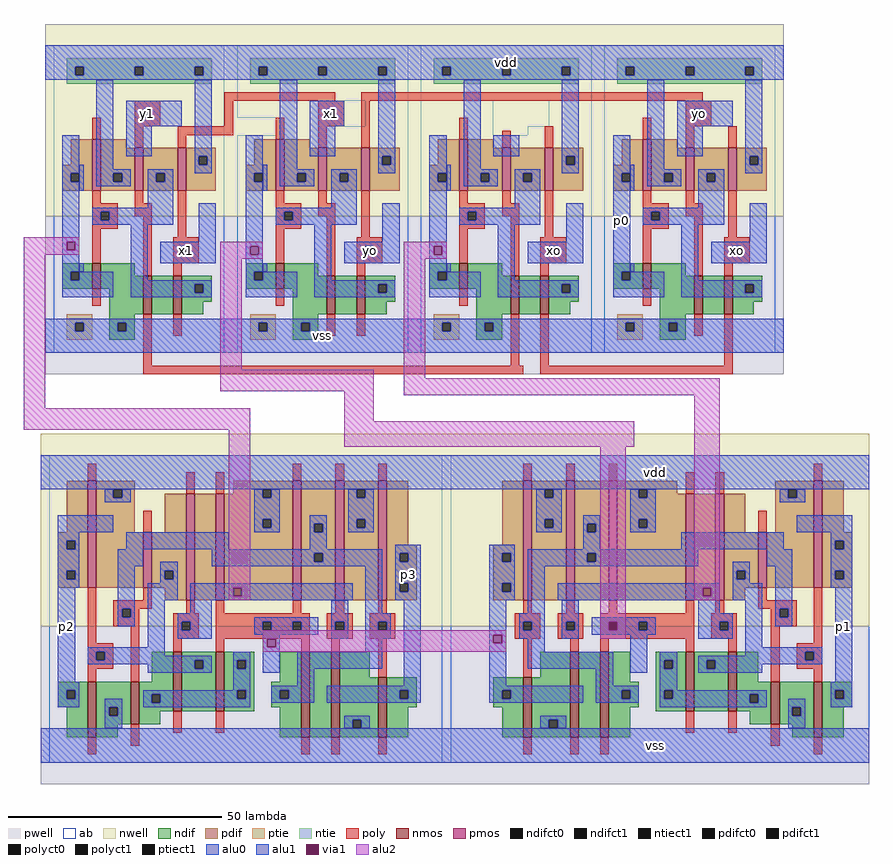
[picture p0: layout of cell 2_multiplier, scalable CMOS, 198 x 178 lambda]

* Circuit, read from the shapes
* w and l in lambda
.subckt 2_multiplier p0 p1 p2 p3 vdd vss x1 xo y1 yo
M1 vss n1 p2 vss nfet w=13 l=2
M2 vss n2 n3 vss nfet w=6 l=2
M3 n4 n5 vss vss nfet w=10 l=2
M4 n6 y1 vss vss nfet w=9 l=2
M5 n1 n3 n4 vss nfet w=14 l=2
M6 n2 x1 n6 vss nfet w=9 l=2
M7 n4 n7 n1 vss nfet w=14 l=2
M8 vss n8 n9 vss nfet w=6 l=2
M9 n10 n7 n5 vss nfet w=20 l=2
M10 n11 x1 vss vss nfet w=9 l=2
M11 vss n3 n10 vss nfet w=20 l=2
M12 n8 yo n11 vss nfet w=9 l=2
M13 p3 n5 vss vss nfet w=14 l=2
M14 vss n12 n13 vss nfet w=6 l=2
M15 n14 y1 vss vss nfet w=9 l=2
M16 vss n15 n7 vss nfet w=14 l=2
M17 n12 xo n14 vss nfet w=9 l=2
M18 n16 n13 vss vss nfet w=20 l=2
M19 n15 n9 n16 vss nfet w=20 l=2
M20 vss n17 p0 vss nfet w=6 l=2
M21 n18 n9 n19 vss nfet w=14 l=2
M22 n20 yo vss vss nfet w=9 l=2
M23 n17 xo n20 vss nfet w=9 l=2
M24 n19 n13 n18 vss nfet w=14 l=2
M25 vss n15 n19 vss nfet w=10 l=2
M26 p1 n18 vss vss nfet w=13 l=2
M27 vdd n1 p2 n21 pfet w=25 l=2
M28 vdd n2 n3 vdd pfet w=12 l=2
M29 n2 y1 vdd vdd pfet w=10 l=2
M30 n1 n5 vdd n21 pfet w=13 l=2
M31 vdd x1 n2 vdd pfet w=10 l=2
M32 n22 n3 n1 n21 pfet w=25 l=2
M33 vdd n7 n22 n21 pfet w=25 l=2
M34 vdd n8 n9 vdd pfet w=12 l=2
M35 n5 n7 vdd n21 pfet w=28 l=2
M36 n8 x1 vdd vdd pfet w=10 l=2
M37 vdd n3 n5 n21 pfet w=28 l=2
M38 vdd yo n8 vdd pfet w=10 l=2
M39 p3 n5 vdd n21 pfet w=28 l=2
M40 vdd n12 n13 vdd pfet w=12 l=2
M41 n12 y1 vdd vdd pfet w=10 l=2
M42 vdd n15 n7 n21 pfet w=28 l=2
M43 vdd xo n12 vdd pfet w=10 l=2
M44 n15 n13 vdd n21 pfet w=28 l=2
M45 vdd n9 n15 n21 pfet w=28 l=2
M46 vdd n17 p0 vdd pfet w=12 l=2
M47 n23 n9 vdd n21 pfet w=25 l=2
M48 n17 yo vdd vdd pfet w=10 l=2
M49 n18 n13 n23 n21 pfet w=25 l=2
M50 vdd xo n17 vdd pfet w=10 l=2
M51 vdd n15 n18 n21 pfet w=13 l=2
M52 p1 n18 vdd n21 pfet w=25 l=2
.ends

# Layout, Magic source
magic
tech scmos
<< ab >>
rect 6 101 46 173
rect 49 160 89 173
rect 49 156 74 160
rect 58 154 74 156
rect 79 154 89 160
rect 58 152 89 154
rect 49 101 89 152
rect 92 160 132 173
rect 92 152 109 160
rect 122 154 132 160
rect 117 152 132 154
rect 92 101 132 152
rect 135 101 175 173
rect 5 5 97 77
rect 99 5 197 77
<< nwell >>
rect 4 133 177 178
rect 3 37 197 82
<< pwell >>
rect 4 96 177 133
rect 3 0 197 37
<< poly >>
rect 46 160 72 162
rect 78 160 158 162
rect 25 158 31 160
rect 25 156 27 158
rect 29 156 31 158
rect 15 151 17 156
rect 25 154 31 156
rect 46 154 48 160
rect 68 158 74 160
rect 68 156 70 158
rect 72 156 74 158
rect 25 149 27 154
rect 35 152 48 154
rect 35 149 37 152
rect 58 151 60 156
rect 68 154 74 156
rect 68 149 70 154
rect 78 149 80 160
rect 154 158 160 160
rect 154 156 156 158
rect 158 156 160 158
rect 101 151 103 156
rect 111 149 113 153
rect 121 149 123 154
rect 144 151 146 156
rect 154 154 160 156
rect 154 149 156 154
rect 164 149 166 154
rect 15 136 17 139
rect 25 136 27 139
rect 15 134 21 136
rect 15 132 17 134
rect 19 132 21 134
rect 25 133 29 136
rect 15 130 21 132
rect 15 122 17 130
rect 27 119 29 133
rect 35 128 37 139
rect 58 136 60 139
rect 68 136 70 139
rect 58 134 64 136
rect 58 132 60 134
rect 62 132 64 134
rect 68 133 72 136
rect 58 130 64 132
rect 34 126 40 128
rect 34 124 36 126
rect 38 124 40 126
rect 34 122 40 124
rect 58 122 60 130
rect 34 119 36 122
rect 15 112 17 116
rect 70 119 72 133
rect 78 128 80 139
rect 101 136 103 139
rect 111 136 113 139
rect 101 134 107 136
rect 101 132 103 134
rect 105 132 107 134
rect 111 133 115 136
rect 101 130 107 132
rect 77 126 83 128
rect 77 124 79 126
rect 81 124 83 126
rect 77 122 83 124
rect 101 122 103 130
rect 77 119 79 122
rect 58 112 60 116
rect 113 119 115 133
rect 121 128 123 139
rect 144 136 146 139
rect 154 136 156 139
rect 144 134 150 136
rect 144 132 146 134
rect 148 132 150 134
rect 154 133 158 136
rect 144 130 150 132
rect 120 126 126 128
rect 120 124 122 126
rect 124 124 126 126
rect 120 122 126 124
rect 144 122 146 130
rect 120 119 122 122
rect 101 112 103 116
rect 156 119 158 133
rect 164 128 166 139
rect 163 126 169 128
rect 163 124 165 126
rect 167 124 169 126
rect 163 122 169 124
rect 163 119 165 122
rect 144 112 146 116
rect 27 98 29 110
rect 34 105 36 110
rect 70 105 72 110
rect 77 105 79 110
rect 113 98 115 110
rect 120 98 122 110
rect 156 105 158 110
rect 163 98 165 110
rect 27 96 116 98
rect 120 96 165 98
rect 14 71 16 75
rect 37 68 39 73
rect 44 68 46 73
rect 62 71 64 75
rect 72 71 74 75
rect 82 71 84 75
rect 116 71 118 75
rect 126 71 128 75
rect 136 71 138 75
rect 27 59 29 64
rect 14 33 16 46
rect 27 43 29 46
rect 154 68 156 73
rect 161 68 163 73
rect 184 71 186 75
rect 171 59 173 64
rect 171 43 173 46
rect 20 41 29 43
rect 20 39 22 41
rect 24 39 26 41
rect 37 40 39 43
rect 44 40 46 43
rect 62 40 64 43
rect 72 40 74 43
rect 82 40 84 43
rect 116 40 118 43
rect 126 40 128 43
rect 136 40 138 43
rect 154 40 156 43
rect 161 40 163 43
rect 171 41 180 43
rect 20 37 26 39
rect 14 31 20 33
rect 14 29 16 31
rect 18 29 20 31
rect 14 27 20 29
rect 14 24 16 27
rect 24 24 26 37
rect 34 38 40 40
rect 34 36 36 38
rect 38 36 40 38
rect 34 34 40 36
rect 44 38 66 40
rect 44 36 55 38
rect 57 36 62 38
rect 64 36 66 38
rect 44 34 66 36
rect 70 38 76 40
rect 70 36 72 38
rect 74 36 76 38
rect 70 34 76 36
rect 80 38 86 40
rect 80 36 82 38
rect 84 36 86 38
rect 80 34 86 36
rect 114 38 120 40
rect 114 36 116 38
rect 118 36 120 38
rect 114 34 120 36
rect 124 38 130 40
rect 124 36 126 38
rect 128 36 130 38
rect 124 34 130 36
rect 134 38 156 40
rect 134 36 136 38
rect 138 36 143 38
rect 145 36 156 38
rect 134 34 156 36
rect 160 38 166 40
rect 160 36 162 38
rect 164 36 166 38
rect 160 34 166 36
rect 34 31 36 34
rect 44 31 46 34
rect 64 31 66 34
rect 71 31 73 34
rect 14 7 16 11
rect 24 9 26 14
rect 34 12 36 17
rect 44 12 46 17
rect 82 25 84 34
rect 116 25 118 34
rect 127 31 129 34
rect 134 31 136 34
rect 154 31 156 34
rect 164 31 166 34
rect 174 39 176 41
rect 178 39 180 41
rect 174 37 180 39
rect 174 24 176 37
rect 184 33 186 46
rect 180 31 186 33
rect 180 29 182 31
rect 184 29 186 31
rect 180 27 186 29
rect 184 24 186 27
rect 154 12 156 17
rect 164 12 166 17
rect 64 7 66 11
rect 71 7 73 11
rect 82 7 84 11
rect 116 7 118 11
rect 127 7 129 11
rect 134 7 136 11
rect 174 9 176 14
rect 184 7 186 11
<< ndif >>
rect 8 120 15 122
rect 8 118 10 120
rect 12 118 15 120
rect 8 116 15 118
rect 17 119 25 122
rect 51 120 58 122
rect 17 116 27 119
rect 19 110 27 116
rect 29 110 34 119
rect 36 117 43 119
rect 36 115 39 117
rect 41 115 43 117
rect 51 118 53 120
rect 55 118 58 120
rect 51 116 58 118
rect 60 119 68 122
rect 94 120 101 122
rect 60 116 70 119
rect 36 113 43 115
rect 36 110 41 113
rect 62 110 70 116
rect 72 110 77 119
rect 79 117 86 119
rect 79 115 82 117
rect 84 115 86 117
rect 94 118 96 120
rect 98 118 101 120
rect 94 116 101 118
rect 103 119 111 122
rect 137 120 144 122
rect 103 116 113 119
rect 79 113 86 115
rect 79 110 84 113
rect 105 110 113 116
rect 115 110 120 119
rect 122 117 129 119
rect 122 115 125 117
rect 127 115 129 117
rect 137 118 139 120
rect 141 118 144 120
rect 137 116 144 118
rect 146 119 154 122
rect 146 116 156 119
rect 122 113 129 115
rect 122 110 127 113
rect 148 110 156 116
rect 158 110 163 119
rect 165 117 172 119
rect 165 115 168 117
rect 170 115 172 117
rect 165 113 172 115
rect 165 110 170 113
rect 19 108 25 110
rect 19 106 21 108
rect 23 106 25 108
rect 19 104 25 106
rect 62 108 68 110
rect 62 106 64 108
rect 66 106 68 108
rect 62 104 68 106
rect 105 108 111 110
rect 105 106 107 108
rect 109 106 111 108
rect 105 104 111 106
rect 148 108 154 110
rect 148 106 150 108
rect 152 106 154 108
rect 148 104 154 106
rect 29 24 34 31
rect 7 22 14 24
rect 7 20 9 22
rect 11 20 14 22
rect 7 18 14 20
rect 9 11 14 18
rect 16 18 24 24
rect 16 16 19 18
rect 21 16 24 18
rect 16 14 24 16
rect 26 21 34 24
rect 26 19 29 21
rect 31 19 34 21
rect 26 17 34 19
rect 36 29 44 31
rect 36 27 39 29
rect 41 27 44 29
rect 36 17 44 27
rect 46 29 53 31
rect 46 27 49 29
rect 51 27 53 29
rect 46 22 53 27
rect 59 24 64 31
rect 46 20 49 22
rect 51 20 53 22
rect 46 17 53 20
rect 57 22 64 24
rect 57 20 59 22
rect 61 20 64 22
rect 57 18 64 20
rect 26 14 31 17
rect 16 11 21 14
rect 59 11 64 18
rect 66 11 71 31
rect 73 25 80 31
rect 120 25 127 31
rect 73 15 82 25
rect 73 13 76 15
rect 78 13 82 15
rect 73 11 82 13
rect 84 22 91 25
rect 84 20 87 22
rect 89 20 91 22
rect 84 18 91 20
rect 109 22 116 25
rect 109 20 111 22
rect 113 20 116 22
rect 109 18 116 20
rect 84 11 89 18
rect 111 11 116 18
rect 118 15 127 25
rect 118 13 122 15
rect 124 13 127 15
rect 118 11 127 13
rect 129 11 134 31
rect 136 24 141 31
rect 147 29 154 31
rect 147 27 149 29
rect 151 27 154 29
rect 136 22 143 24
rect 136 20 139 22
rect 141 20 143 22
rect 136 18 143 20
rect 147 22 154 27
rect 147 20 149 22
rect 151 20 154 22
rect 136 11 141 18
rect 147 17 154 20
rect 156 29 164 31
rect 156 27 159 29
rect 161 27 164 29
rect 156 17 164 27
rect 166 24 171 31
rect 166 21 174 24
rect 166 19 169 21
rect 171 19 174 21
rect 166 17 174 19
rect 169 14 174 17
rect 176 18 184 24
rect 176 16 179 18
rect 181 16 184 18
rect 176 14 184 16
rect 179 11 184 14
rect 186 22 193 24
rect 186 20 189 22
rect 191 20 193 22
rect 186 18 193 20
rect 186 11 191 18
<< pdif >>
rect 10 145 15 151
rect 8 143 15 145
rect 8 141 10 143
rect 12 141 15 143
rect 8 139 15 141
rect 17 149 23 151
rect 17 143 25 149
rect 17 141 20 143
rect 22 141 25 143
rect 17 139 25 141
rect 27 143 35 149
rect 27 141 30 143
rect 32 141 35 143
rect 27 139 35 141
rect 37 147 44 149
rect 37 145 40 147
rect 42 145 44 147
rect 53 145 58 151
rect 37 139 44 145
rect 51 143 58 145
rect 51 141 53 143
rect 55 141 58 143
rect 51 139 58 141
rect 60 149 66 151
rect 60 143 68 149
rect 60 141 63 143
rect 65 141 68 143
rect 60 139 68 141
rect 70 143 78 149
rect 70 141 73 143
rect 75 141 78 143
rect 70 139 78 141
rect 80 147 87 149
rect 80 145 83 147
rect 85 145 87 147
rect 96 145 101 151
rect 80 139 87 145
rect 94 143 101 145
rect 94 141 96 143
rect 98 141 101 143
rect 94 139 101 141
rect 103 149 109 151
rect 103 143 111 149
rect 103 141 106 143
rect 108 141 111 143
rect 103 139 111 141
rect 113 143 121 149
rect 113 141 116 143
rect 118 141 121 143
rect 113 139 121 141
rect 123 147 130 149
rect 123 145 126 147
rect 128 145 130 147
rect 139 145 144 151
rect 123 139 130 145
rect 137 143 144 145
rect 137 141 139 143
rect 141 141 144 143
rect 137 139 144 141
rect 146 149 152 151
rect 146 143 154 149
rect 146 141 149 143
rect 151 141 154 143
rect 146 139 154 141
rect 156 143 164 149
rect 156 141 159 143
rect 161 141 164 143
rect 156 139 164 141
rect 166 147 173 149
rect 166 145 169 147
rect 171 145 173 147
rect 166 139 173 145
rect 9 59 14 71
rect 7 57 14 59
rect 7 55 9 57
rect 11 55 14 57
rect 7 50 14 55
rect 7 48 9 50
rect 11 48 14 50
rect 7 46 14 48
rect 16 69 25 71
rect 16 67 20 69
rect 22 67 25 69
rect 48 69 62 71
rect 48 68 55 69
rect 16 59 25 67
rect 32 59 37 68
rect 16 46 27 59
rect 29 50 37 59
rect 29 48 32 50
rect 34 48 37 50
rect 29 46 37 48
rect 32 43 37 46
rect 39 43 44 68
rect 46 67 55 68
rect 57 67 62 69
rect 46 62 62 67
rect 46 60 55 62
rect 57 60 62 62
rect 46 43 62 60
rect 64 61 72 71
rect 64 59 67 61
rect 69 59 72 61
rect 64 54 72 59
rect 64 52 67 54
rect 69 52 72 54
rect 64 43 72 52
rect 74 69 82 71
rect 74 67 77 69
rect 79 67 82 69
rect 74 62 82 67
rect 74 60 77 62
rect 79 60 82 62
rect 74 43 82 60
rect 84 56 89 71
rect 111 56 116 71
rect 84 54 91 56
rect 84 52 87 54
rect 89 52 91 54
rect 84 47 91 52
rect 84 45 87 47
rect 89 45 91 47
rect 84 43 91 45
rect 109 54 116 56
rect 109 52 111 54
rect 113 52 116 54
rect 109 47 116 52
rect 109 45 111 47
rect 113 45 116 47
rect 109 43 116 45
rect 118 69 126 71
rect 118 67 121 69
rect 123 67 126 69
rect 118 62 126 67
rect 118 60 121 62
rect 123 60 126 62
rect 118 43 126 60
rect 128 61 136 71
rect 128 59 131 61
rect 133 59 136 61
rect 128 54 136 59
rect 128 52 131 54
rect 133 52 136 54
rect 128 43 136 52
rect 138 69 152 71
rect 138 67 143 69
rect 145 68 152 69
rect 175 69 184 71
rect 145 67 154 68
rect 138 62 154 67
rect 138 60 143 62
rect 145 60 154 62
rect 138 43 154 60
rect 156 43 161 68
rect 163 59 168 68
rect 175 67 178 69
rect 180 67 184 69
rect 175 59 184 67
rect 163 50 171 59
rect 163 48 166 50
rect 168 48 171 50
rect 163 46 171 48
rect 173 46 184 59
rect 186 59 191 71
rect 186 57 193 59
rect 186 55 189 57
rect 191 55 193 57
rect 186 50 193 55
rect 186 48 189 50
rect 191 48 193 50
rect 186 46 193 48
rect 163 43 168 46
<< alu1 >>
rect 4 168 177 173
rect 4 166 11 168
rect 13 166 25 168
rect 27 166 39 168
rect 41 166 54 168
rect 56 166 68 168
rect 70 166 82 168
rect 84 166 97 168
rect 99 166 111 168
rect 113 166 125 168
rect 127 166 140 168
rect 142 166 154 168
rect 156 166 168 168
rect 170 166 177 168
rect 4 165 177 166
rect 8 143 12 152
rect 8 141 10 143
rect 8 127 12 141
rect 23 158 36 160
rect 23 156 27 158
rect 29 156 36 158
rect 23 154 36 156
rect 23 147 29 154
rect 51 143 55 152
rect 51 141 53 143
rect 8 125 9 127
rect 11 125 12 127
rect 8 120 12 125
rect 8 118 10 120
rect 12 118 20 120
rect 8 114 20 118
rect 40 127 44 136
rect 31 126 44 127
rect 31 124 36 126
rect 38 124 44 126
rect 31 122 44 124
rect 51 126 55 141
rect 66 158 74 160
rect 66 156 70 158
rect 72 156 74 158
rect 66 154 74 156
rect 66 147 72 154
rect 94 143 98 152
rect 94 141 96 143
rect 51 124 52 126
rect 54 124 55 126
rect 51 120 55 124
rect 51 118 53 120
rect 55 118 63 120
rect 51 114 63 118
rect 83 127 87 136
rect 74 126 87 127
rect 74 124 79 126
rect 81 124 87 126
rect 74 122 87 124
rect 94 126 98 141
rect 109 147 115 152
rect 137 143 141 152
rect 137 141 139 143
rect 94 124 95 126
rect 97 124 98 126
rect 94 120 98 124
rect 94 118 96 120
rect 98 118 106 120
rect 94 114 106 118
rect 126 127 130 136
rect 117 126 130 127
rect 117 124 122 126
rect 124 124 130 126
rect 117 122 130 124
rect 137 120 141 141
rect 152 158 165 160
rect 152 156 156 158
rect 158 156 165 158
rect 152 154 165 156
rect 152 147 158 154
rect 137 118 139 120
rect 141 118 149 120
rect 137 114 149 118
rect 169 127 173 136
rect 160 126 173 127
rect 160 124 165 126
rect 167 124 173 126
rect 160 122 173 124
rect 4 108 177 109
rect 4 106 11 108
rect 13 106 21 108
rect 23 106 54 108
rect 56 106 64 108
rect 66 106 97 108
rect 99 106 107 108
rect 109 106 140 108
rect 142 106 150 108
rect 152 106 177 108
rect 4 101 177 106
rect 3 69 197 77
rect 7 59 20 63
rect 180 59 193 63
rect 7 57 12 59
rect 7 55 9 57
rect 11 55 12 57
rect 7 50 12 55
rect 7 48 9 50
rect 11 48 12 50
rect 7 46 12 48
rect 7 24 11 46
rect 38 46 76 47
rect 38 44 48 46
rect 50 44 76 46
rect 38 43 76 44
rect 38 40 43 43
rect 35 38 43 40
rect 35 36 36 38
rect 38 36 43 38
rect 35 34 43 36
rect 53 38 68 39
rect 53 36 55 38
rect 57 36 62 38
rect 64 36 68 38
rect 53 35 68 36
rect 55 34 59 35
rect 86 54 92 56
rect 86 52 87 54
rect 89 52 92 54
rect 86 47 92 52
rect 86 45 87 47
rect 89 45 92 47
rect 86 43 92 45
rect 55 32 56 34
rect 58 32 59 34
rect 7 22 12 24
rect 55 26 59 32
rect 88 23 92 43
rect 7 20 9 22
rect 11 20 12 22
rect 7 18 12 20
rect 70 22 92 23
rect 70 20 87 22
rect 89 20 92 22
rect 70 19 92 20
rect 108 54 114 56
rect 188 57 193 59
rect 188 55 189 57
rect 191 55 193 57
rect 108 52 111 54
rect 113 52 114 54
rect 108 47 114 52
rect 108 45 111 47
rect 113 45 114 47
rect 108 43 114 45
rect 108 35 112 43
rect 124 46 162 47
rect 124 44 158 46
rect 160 44 162 46
rect 124 43 162 44
rect 108 33 109 35
rect 111 33 112 35
rect 157 40 162 43
rect 132 38 147 39
rect 132 36 136 38
rect 138 36 143 38
rect 145 36 147 38
rect 132 35 147 36
rect 157 38 165 40
rect 157 36 162 38
rect 164 36 165 38
rect 108 23 112 33
rect 141 26 145 35
rect 157 34 165 36
rect 188 50 193 55
rect 188 48 189 50
rect 191 48 193 50
rect 188 46 193 48
rect 108 22 130 23
rect 108 20 111 22
rect 113 20 130 22
rect 108 19 130 20
rect 189 24 193 46
rect 188 22 193 24
rect 188 20 189 22
rect 191 20 193 22
rect 188 18 193 20
rect 3 5 197 13
<< alu2 >>
rect -1 127 12 128
rect -1 125 9 127
rect 11 125 12 127
rect -1 124 12 125
rect 45 126 55 127
rect 45 124 52 126
rect 54 124 55 126
rect -1 88 4 124
rect 45 123 55 124
rect 88 126 98 127
rect 88 124 95 126
rect 97 124 98 126
rect 88 123 98 124
rect 45 97 50 123
rect 45 92 81 97
rect -1 83 52 88
rect 47 46 52 83
rect 74 85 81 92
rect 88 95 93 123
rect 88 91 162 95
rect 74 79 142 85
rect 47 44 48 46
rect 50 44 52 46
rect 47 43 52 44
rect 134 38 140 79
rect 156 46 162 91
rect 156 44 158 46
rect 160 44 162 46
rect 156 43 162 44
rect 134 36 136 38
rect 138 36 140 38
rect 55 35 112 36
rect 55 34 109 35
rect 55 32 56 34
rect 58 33 109 34
rect 111 33 112 35
rect 134 34 140 36
rect 58 32 112 33
rect 55 31 112 32
<< ptie >>
rect 9 108 15 110
rect 9 106 11 108
rect 13 106 15 108
rect 9 104 15 106
rect 52 108 58 110
rect 52 106 54 108
rect 56 106 58 108
rect 52 104 58 106
rect 95 108 101 110
rect 95 106 97 108
rect 99 106 101 108
rect 95 104 101 106
rect 138 108 144 110
rect 138 106 140 108
rect 142 106 144 108
rect 138 104 144 106
<< ntie >>
rect 9 168 43 170
rect 9 166 11 168
rect 13 166 25 168
rect 27 166 39 168
rect 41 166 43 168
rect 9 164 43 166
rect 52 168 86 170
rect 52 166 54 168
rect 56 166 68 168
rect 70 166 82 168
rect 84 166 86 168
rect 52 164 86 166
rect 95 168 129 170
rect 95 166 97 168
rect 99 166 111 168
rect 113 166 125 168
rect 127 166 129 168
rect 95 164 129 166
rect 138 168 172 170
rect 138 166 140 168
rect 142 166 154 168
rect 156 166 168 168
rect 170 166 172 168
rect 138 164 172 166
<< nmos >>
rect 15 116 17 122
rect 27 110 29 119
rect 34 110 36 119
rect 58 116 60 122
rect 70 110 72 119
rect 77 110 79 119
rect 101 116 103 122
rect 113 110 115 119
rect 120 110 122 119
rect 144 116 146 122
rect 156 110 158 119
rect 163 110 165 119
rect 14 11 16 24
rect 24 14 26 24
rect 34 17 36 31
rect 44 17 46 31
rect 64 11 66 31
rect 71 11 73 31
rect 82 11 84 25
rect 116 11 118 25
rect 127 11 129 31
rect 134 11 136 31
rect 154 17 156 31
rect 164 17 166 31
rect 174 14 176 24
rect 184 11 186 24
<< pmos >>
rect 15 139 17 151
rect 25 139 27 149
rect 35 139 37 149
rect 58 139 60 151
rect 68 139 70 149
rect 78 139 80 149
rect 101 139 103 151
rect 111 139 113 149
rect 121 139 123 149
rect 144 139 146 151
rect 154 139 156 149
rect 164 139 166 149
rect 14 46 16 71
rect 27 46 29 59
rect 37 43 39 68
rect 44 43 46 68
rect 62 43 64 71
rect 72 43 74 71
rect 82 43 84 71
rect 116 43 118 71
rect 126 43 128 71
rect 136 43 138 71
rect 154 43 156 68
rect 161 43 163 68
rect 171 46 173 59
rect 184 46 186 71
<< polyct0 >>
rect 17 132 19 134
rect 60 132 62 134
rect 103 132 105 134
rect 146 132 148 134
rect 22 39 24 41
rect 16 29 18 31
rect 72 36 74 38
rect 82 36 84 38
rect 116 36 118 38
rect 126 36 128 38
rect 176 39 178 41
rect 182 29 184 31
<< polyct1 >>
rect 27 156 29 158
rect 70 156 72 158
rect 156 156 158 158
rect 36 124 38 126
rect 79 124 81 126
rect 122 124 124 126
rect 165 124 167 126
rect 36 36 38 38
rect 55 36 57 38
rect 62 36 64 38
rect 136 36 138 38
rect 143 36 145 38
rect 162 36 164 38
<< ndifct0 >>
rect 39 115 41 117
rect 82 115 84 117
rect 125 115 127 117
rect 168 115 170 117
rect 19 16 21 18
rect 29 19 31 21
rect 39 27 41 29
rect 49 27 51 29
rect 49 20 51 22
rect 59 20 61 22
rect 76 13 78 15
rect 122 13 124 15
rect 149 27 151 29
rect 139 20 141 22
rect 149 20 151 22
rect 159 27 161 29
rect 169 19 171 21
rect 179 16 181 18
<< ndifct1 >>
rect 10 118 12 120
rect 53 118 55 120
rect 96 118 98 120
rect 139 118 141 120
rect 21 106 23 108
rect 64 106 66 108
rect 107 106 109 108
rect 150 106 152 108
rect 9 20 11 22
rect 87 20 89 22
rect 111 20 113 22
rect 189 20 191 22
<< ntiect1 >>
rect 11 166 13 168
rect 25 166 27 168
rect 39 166 41 168
rect 54 166 56 168
rect 68 166 70 168
rect 82 166 84 168
rect 97 166 99 168
rect 111 166 113 168
rect 125 166 127 168
rect 140 166 142 168
rect 154 166 156 168
rect 168 166 170 168
<< ptiect1 >>
rect 11 106 13 108
rect 54 106 56 108
rect 97 106 99 108
rect 140 106 142 108
<< pdifct0 >>
rect 20 141 22 143
rect 30 141 32 143
rect 40 145 42 147
rect 63 141 65 143
rect 73 141 75 143
rect 83 145 85 147
rect 106 141 108 143
rect 116 141 118 143
rect 126 145 128 147
rect 149 141 151 143
rect 159 141 161 143
rect 169 145 171 147
rect 20 67 22 69
rect 32 48 34 50
rect 55 67 57 69
rect 55 60 57 62
rect 67 59 69 61
rect 67 52 69 54
rect 77 67 79 69
rect 77 60 79 62
rect 121 67 123 69
rect 121 60 123 62
rect 131 59 133 61
rect 131 52 133 54
rect 143 67 145 69
rect 143 60 145 62
rect 178 67 180 69
rect 166 48 168 50
<< pdifct1 >>
rect 10 141 12 143
rect 53 141 55 143
rect 96 141 98 143
rect 139 141 141 143
rect 9 55 11 57
rect 9 48 11 50
rect 87 52 89 54
rect 87 45 89 47
rect 111 52 113 54
rect 111 45 113 47
rect 189 55 191 57
rect 189 48 191 50
<< alu0 >>
rect 12 139 13 145
rect 16 144 20 165
rect 39 147 43 165
rect 39 145 40 147
rect 42 145 43 147
rect 16 143 24 144
rect 16 141 20 143
rect 22 141 24 143
rect 16 140 24 141
rect 28 143 34 144
rect 39 143 43 145
rect 28 141 30 143
rect 32 141 34 143
rect 28 135 34 141
rect 15 134 34 135
rect 15 132 17 134
rect 19 132 34 134
rect 15 131 34 132
rect 12 120 13 122
rect 24 118 28 131
rect 55 139 56 145
rect 59 144 63 165
rect 82 147 86 165
rect 82 145 83 147
rect 85 145 86 147
rect 59 143 67 144
rect 59 141 63 143
rect 65 141 67 143
rect 59 140 67 141
rect 71 143 77 144
rect 82 143 86 145
rect 71 141 73 143
rect 75 141 77 143
rect 71 135 77 141
rect 58 134 77 135
rect 58 132 60 134
rect 62 132 77 134
rect 58 131 77 132
rect 55 120 56 122
rect 24 117 43 118
rect 24 115 39 117
rect 41 115 43 117
rect 24 114 43 115
rect 67 118 71 131
rect 98 139 99 145
rect 102 144 106 165
rect 125 147 129 165
rect 125 145 126 147
rect 128 145 129 147
rect 102 143 110 144
rect 102 141 106 143
rect 108 141 110 143
rect 102 140 110 141
rect 114 143 120 144
rect 125 143 129 145
rect 114 141 116 143
rect 118 141 120 143
rect 114 135 120 141
rect 101 134 120 135
rect 101 132 103 134
rect 105 132 120 134
rect 101 131 120 132
rect 98 120 99 122
rect 67 117 86 118
rect 67 115 82 117
rect 84 115 86 117
rect 67 114 86 115
rect 110 118 114 131
rect 141 139 142 145
rect 145 144 149 165
rect 168 147 172 165
rect 168 145 169 147
rect 171 145 172 147
rect 145 143 153 144
rect 145 141 149 143
rect 151 141 153 143
rect 145 140 153 141
rect 157 143 163 144
rect 168 143 172 145
rect 157 141 159 143
rect 161 141 163 143
rect 157 135 163 141
rect 144 134 163 135
rect 144 132 146 134
rect 148 132 163 134
rect 144 131 163 132
rect 141 120 142 122
rect 110 117 129 118
rect 110 115 125 117
rect 127 115 129 117
rect 110 114 129 115
rect 153 118 157 131
rect 153 117 172 118
rect 153 115 168 117
rect 170 115 172 117
rect 153 114 172 115
rect 18 67 20 69
rect 22 67 24 69
rect 18 66 24 67
rect 53 67 55 69
rect 57 67 59 69
rect 53 62 59 67
rect 75 67 77 69
rect 79 67 81 69
rect 53 60 55 62
rect 57 60 59 62
rect 53 59 59 60
rect 66 61 70 63
rect 66 59 67 61
rect 69 59 70 61
rect 75 62 81 67
rect 75 60 77 62
rect 79 60 81 62
rect 75 59 81 60
rect 119 67 121 69
rect 123 67 125 69
rect 119 62 125 67
rect 141 67 143 69
rect 145 67 147 69
rect 119 60 121 62
rect 123 60 125 62
rect 119 59 125 60
rect 130 61 134 63
rect 130 59 131 61
rect 133 59 134 61
rect 141 62 147 67
rect 176 67 178 69
rect 180 67 182 69
rect 176 66 182 67
rect 141 60 143 62
rect 145 60 147 62
rect 141 59 147 60
rect 23 55 47 59
rect 66 55 70 59
rect 21 51 27 55
rect 43 54 83 55
rect 43 52 67 54
rect 69 52 83 54
rect 21 41 25 51
rect 31 50 35 52
rect 43 51 83 52
rect 31 48 32 50
rect 34 48 35 50
rect 31 47 35 48
rect 21 39 22 41
rect 24 39 25 41
rect 21 37 25 39
rect 28 43 35 47
rect 28 32 32 43
rect 71 38 75 43
rect 71 36 72 38
rect 74 36 75 38
rect 71 34 75 36
rect 79 40 83 51
rect 79 38 85 40
rect 79 36 82 38
rect 84 36 85 38
rect 79 34 85 36
rect 14 31 32 32
rect 14 29 16 31
rect 18 30 32 31
rect 18 29 43 30
rect 14 28 39 29
rect 28 27 39 28
rect 41 27 43 29
rect 28 26 43 27
rect 48 29 52 31
rect 48 27 49 29
rect 51 27 52 29
rect 48 22 52 27
rect 79 31 83 34
rect 63 27 83 31
rect 63 23 67 27
rect 27 21 49 22
rect 18 18 22 20
rect 27 19 29 21
rect 31 20 49 21
rect 51 20 52 22
rect 31 19 52 20
rect 57 22 67 23
rect 57 20 59 22
rect 61 20 67 22
rect 57 19 67 20
rect 130 55 134 59
rect 153 55 177 59
rect 117 54 157 55
rect 117 52 131 54
rect 133 52 157 54
rect 117 51 157 52
rect 117 40 121 51
rect 165 50 169 52
rect 173 51 179 55
rect 165 48 166 50
rect 168 48 169 50
rect 165 47 169 48
rect 165 43 172 47
rect 115 38 121 40
rect 115 36 116 38
rect 118 36 121 38
rect 115 34 121 36
rect 125 38 129 43
rect 125 36 126 38
rect 128 36 129 38
rect 125 34 129 36
rect 117 31 121 34
rect 117 27 137 31
rect 133 23 137 27
rect 168 32 172 43
rect 175 41 179 51
rect 175 39 176 41
rect 178 39 179 41
rect 175 37 179 39
rect 168 31 186 32
rect 148 29 152 31
rect 168 30 182 31
rect 148 27 149 29
rect 151 27 152 29
rect 133 22 143 23
rect 133 20 139 22
rect 141 20 143 22
rect 133 19 143 20
rect 148 22 152 27
rect 157 29 182 30
rect 184 29 186 31
rect 157 27 159 29
rect 161 28 186 29
rect 161 27 172 28
rect 157 26 172 27
rect 148 20 149 22
rect 151 21 173 22
rect 151 20 169 21
rect 148 19 169 20
rect 171 19 173 21
rect 27 18 52 19
rect 148 18 173 19
rect 178 18 182 20
rect 18 16 19 18
rect 21 16 22 18
rect 178 16 179 18
rect 181 16 182 18
rect 18 13 22 16
rect 74 15 80 16
rect 74 13 76 15
rect 78 13 80 15
rect 120 15 126 16
rect 120 13 122 15
rect 124 13 126 15
rect 178 13 182 16
<< via1 >>
rect 9 125 11 127
rect 52 124 54 126
rect 95 124 97 126
rect 48 44 50 46
rect 56 32 58 34
rect 158 44 160 46
rect 109 33 111 35
rect 136 36 138 38
<< labels >>
rlabel alu1 69 105 69 105 6 vss
rlabel alu1 112 169 112 169 6 vdd
rlabel alu1 147 9 147 9 4 vss
rlabel alu1 147 73 147 73 4 vdd
rlabel polyct1 37 125 37 125 1 x1
rlabel polyct1 28 157 28 157 1 y1
rlabel polyct1 71 157 71 157 1 x1
rlabel polyct1 80 125 80 125 1 yo
rlabel polyct1 157 157 157 157 1 yo
rlabel polyct1 166 125 166 125 1 xo
rlabel polyct1 123 125 123 125 1 xo
rlabel alu1 89 49 89 49 1 p3
rlabel alu1 9 37 9 37 1 p2
rlabel alu1 139 132 139 132 1 p0
rlabel alu1 191 37 191 37 1 p1
<< end >>
